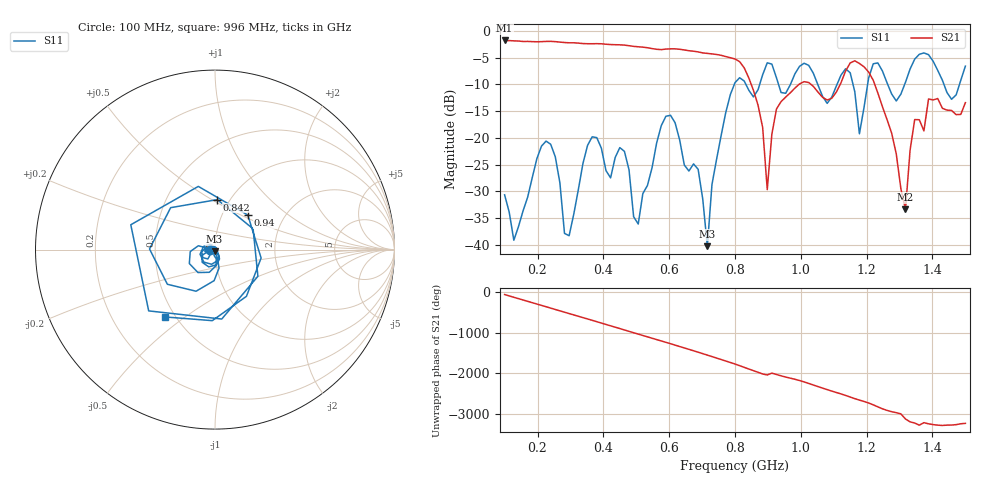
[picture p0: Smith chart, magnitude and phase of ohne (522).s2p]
! NanoVNA-App
! Date: 2025-09-25 14:24:52
! Start: 100MHz Stop: 1,5GHz Points: 101
! S-Parameter data: F S11 S21 S12 S22
# Hz S RI R 50
!  Frequency  S11_Real  S11_Imag  S21_Real  S21_Imag  S12_Real  S12_Imag  S22_Real  S22_Imag
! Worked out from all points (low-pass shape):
!   101 points, 100 MHz to 1.5 GHz, reference 50 ohm
!   highest |S21| = -1.79 dB at 100 MHz (marker M1); lowest = -33.3 dB at 1.318 GHz (marker M2)
!   |S21| within 3 dB of the highest: start of sweep to 771.2 MHz
!   lowest |S11| = -40.2 dB at 716 MHz (marker M3), VSWR 1.02, Z = 49.8 - j0.939 ohm
!   |S11| at or under -10 dB: start of sweep to 797.9 MHz; 833.1 MHz to 875 MHz (41.93 MHz wide, 4.91 % of centre); 1.051 GHz to 1.11 GHz (58.66 MHz wide, 5.43 % of centre) (the widest 3 of 7)
!   S12 and S22 are empty: the file has one direction only
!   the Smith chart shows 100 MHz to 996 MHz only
!   S11 on the Smith chart (normalised r, x): 100 MHz: 0.94, -0.01; 842 MHz: 0.88, +0.53; 940 MHz: 1.32, +0.55; 996 MHz: 0.44, -0.42
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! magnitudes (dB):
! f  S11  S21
! 100 MHz  -30.6  -1.8
! 128 MHz  -39.1  -1.9
! 226 MHz  -20.6  -2.0
! 296 MHz  -38.3  -2.2
! 338 MHz  -24.8  -2.4
! 464 MHz  -22.5  -2.7
! 506 MHz  -36.1  -3.0
! 576 MHz  -17.7  -3.5
! 688 MHz  -25.9  -3.9
! 716 MHz  -40.2  -4.2
! 800 MHz  -9.7  -5.3
! 842 MHz  -11.1  -8.8
! 898 MHz  -6.0  -29.7
! 940 MHz  -11.5  -13.2
! 996 MHz  -6.6  -9.9
! 1.038 GHz  -7.9  -10.4
! 1.178 GHz  -19.2  -6.1
! 1.22 GHz  -6.2  -9.2
! 1.276 GHz  -11.8  -19.1
! 1.318 GHz  -9.6  -33.3
! 1.346 GHz  -5.3  -16.6
! 1.5 GHz  -6.6  -13.4
